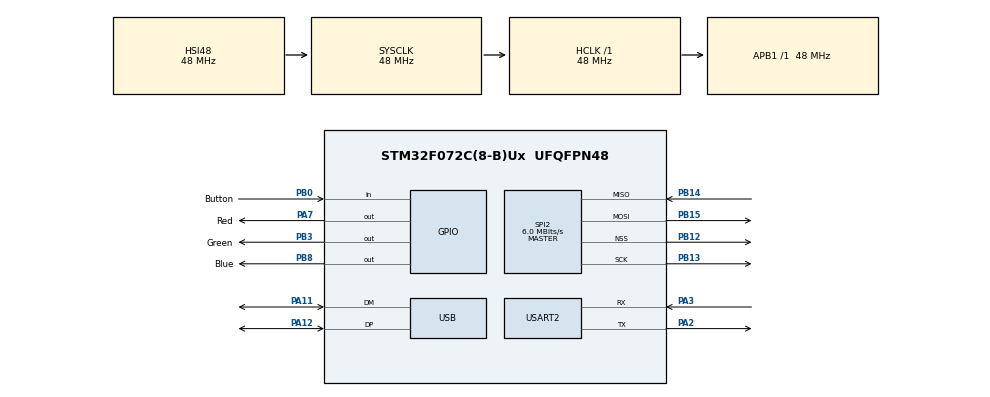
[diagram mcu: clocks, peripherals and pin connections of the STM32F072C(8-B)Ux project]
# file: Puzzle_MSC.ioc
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Mcu.Family=STM32F0
Mcu.Name=STM32F072C(8-B)Ux
Mcu.Package=UFQFPN48
NVIC.USB_IRQn=true\:0\:0\:false\:false\:true\:false
PA11.Mode=Device
PA11.Signal=USB_DM
PA12.Mode=Device
PA12.Signal=USB_DP
PA2.Mode=Asynchronous
PA2.Signal=USART2_TX
PA3.Mode=Asynchronous
PA3.Signal=USART2_RX
PA7.GPIO_Label=Red
PA7.Signal=GPIO_Output
PB0.GPIO_Label=Button
PB0.Signal=GPIO_Input
PB12.Mode=NSS_Signal_Hard_Output
PB12.Signal=SPI2_NSS
PB13.Mode=Full_Duplex_Master
PB13.Signal=SPI2_SCK
PB14.Mode=Full_Duplex_Master
PB14.Signal=SPI2_MISO
PB15.Mode=Full_Duplex_Master
PB15.Signal=SPI2_MOSI
PB3.GPIO_Label=Green
PB3.Signal=GPIO_Output
PB8.GPIO_Label=Blue
PB8.Signal=GPIO_Output
ProjectManager.HeapSize=0x200
ProjectManager.StackSize=0x400
ProjectManager.TargetToolchain=MDK-ARM V5
RCC.AHBFreq_Value=48000000
RCC.APB1Freq_Value=48000000
RCC.APB1TimFreq_Value=48000000
RCC.HCLKFreq_Value=48000000
RCC.SYSCLKFreq_VALUE=48000000
RCC.SYSCLKSource=RCC_SYSCLKSOURCE_HSI48
SPI2.BaudRatePrescaler=SPI_BAUDRATEPRESCALER_8
SPI2.CalculateBaudRate=6.0 MBits/s
SPI2.DataSize=SPI_DATASIZE_8BIT
SPI2.Direction=SPI_DIRECTION_2LINES
SPI2.Mode=SPI_MODE_MASTER
SPI2.VirtualNSS=VM_NSSHARD
SPI2.VirtualType=VM_MASTER
USART2.VirtualMode-Asynchronous=VM_ASYNC
USB_DEVICE.CLASS_NAME_FS=MSC
USB_DEVICE.VirtualMode=Msc
USB_DEVICE.VirtualModeFS=Msc_FS
VP_FATFS_VS_Generic.Mode=User_defined
VP_USB_DEVICE_VS_USB_DEVICE_MSC_FS.Mode=MSC_FS
board=Puzzle_MSC

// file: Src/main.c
/**
  ******************************************************************************
  * @file           : main.c
  * @brief          : Main program body
  ******************************************************************************
  * This notice applies to any and all portions of this file
  * that are not between comment pairs USER CODE BEGIN and
  * USER CODE END. Other portions of this file, whether
  * inserted by the user or by software development tools
  * are owned by their respective copyright owners.
  *
  * Copyright (c) 2018 STMicroelectronics International N.V.
  * All rights reserved.
  *
  * Redistribution and use in source and binary forms, with or without
  * modification, are permitted, provided that the following conditions are met:
  *
  * 1. Redistribution of source code must retain the above copyright notice,
  *    this list of conditions and the following disclaimer.
  * 2. Redistributions in binary form must reproduce the above copyright notice,
  *    this list of conditions and the following disclaimer in the documentation
  *    and/or other materials provided with the distribution.
  * 3. Neither the name of STMicroelectronics nor the names of other
  *    contributors to this software may be used to endorse or promote products
  *    derived from this software without specific written permission.
  * 4. This software, including modifications and/or derivative works of this
  *    software, must execute solely and exclusively on microcontroller or
  *    microprocessor devices manufactured by or for STMicroelectronics.
  * 5. Redistribution and use of this software other than as permitted under
  *    this license is void and will automatically terminate your rights under
  *    this license.
  *
  * THIS SOFTWARE IS PROVIDED BY STMICROELECTRONICS AND CONTRIBUTORS "AS IS"
  * AND ANY EXPRESS, IMPLIED OR STATUTORY WARRANTIES, INCLUDING, BUT NOT
  * LIMITED TO, THE IMPLIED WARRANTIES OF MERCHANTABILITY, FITNESS FOR A
  * PARTICULAR PURPOSE AND NON-INFRINGEMENT OF THIRD PARTY INTELLECTUAL PROPERTY
  * RIGHTS ARE DISCLAIMED TO THE FULLEST EXTENT PERMITTED BY LAW. IN NO EVENT
  * SHALL STMICROELECTRONICS OR CONTRIBUTORS BE LIABLE FOR ANY DIRECT, INDIRECT,
  * INCIDENTAL, SPECIAL, EXEMPLARY, OR CONSEQUENTIAL DAMAGES (INCLUDING, BUT NOT
  * LIMITED TO, PROCUREMENT OF SUBSTITUTE GOODS OR SERVICES; LOSS OF USE, DATA,
  * OR PROFITS; OR BUSINESS INTERRUPTION) HOWEVER CAUSED AND ON ANY THEORY OF
  * LIABILITY, WHETHER IN CONTRACT, STRICT LIABILITY, OR TORT (INCLUDING
  * NEGLIGENCE OR OTHERWISE) ARISING IN ANY WAY OUT OF THE USE OF THIS SOFTWARE,
  * EVEN IF ADVISED OF THE POSSIBILITY OF SUCH DAMAGE.
  *
  ******************************************************************************
  */
#include "main.h"
#include "stm32f0xx_hal.h"
#include "fatfs.h"
#include "usb_device.h"
#include "spi_nor_flash.h"

extern SPI_HandleTypeDef hspi;

UART_HandleTypeDef huart2;

/* USER CODE BEGIN PV */
/* Private variables ---------------------------------------------------------*/

/* USER CODE END PV */

void SystemClock_Config(void);
static void MX_GPIO_Init(void);
static void MX_SPI2_Init(void);
static void MX_USART2_UART_Init(void);

/* USER CODE BEGIN PFP */
/* Private function prototypes -----------------------------------------------*/

/* USER CODE END PFP */

/* USER CODE BEGIN 0 */
#define NUM_COLORS 6

#define MIN_BTN_PRESS 100
#define LONG_BTN_PRESS 500
#define EXTND_BTN_PRESS 1000

volatile enum {
	NO_BUTTON,
	SHORT_BUTTON,
	LONG_BUTTON,
	EXTND_BUTTON
}button_state;

uint8_t led_pwm[] = {0,0,0};
uint16_t led_accum[] = {0,0,0};
uint32_t key_timer;
uint8_t mode;

uint8_t colors[NUM_COLORS][3]={
	{ 255, 0,   0   },//red
	{ 0,   255, 0   },//green
	{ 0,   0,   255 },//blue
	{ 255, 255, 0   },//yellow
	{ 255, 0,   255 },//magenta
	{ 0,   255, 255 },//cyan

};

uint8_t get_button(void){

	return GPIOB->IDR & (1<<0);
}

void led_on(uint8_t led){

	if(led == 0){ GPIOA->ODR &= ~(1 << 7); }
	if(led == 1){ GPIOB->ODR &= ~(1 << 3); }
	if(led == 2){ GPIOB->ODR &= ~(1 << 8); }
}

void led_off(uint8_t led){

	if(led == 0){ GPIOA->ODR |= (1 << 7); }
	if(led == 1){ GPIOB->ODR |= (1 << 3); }
	if(led == 2){ GPIOB->ODR |= (1 << 8); }

}

void cycle_color(void){

		mode++;

		//lightsOut = LIGHTS_OUT_AFTER_N_MS;

		if(mode > NUM_COLORS-1 ){

			mode = 0;

		}
		led_pwm[0] = colors[mode][0];
		led_pwm[1] = colors[mode][1];
		led_pwm[2] = colors[mode][2];
}

/* USER CODE END 0 */

int main(void)
{

  /* MCU Configuration----------------------------------------------------------*/

  /* Reset of all peripherals, Initializes the Flash interface and the Systick. */
  HAL_Init();

  /* Configure the system clock */
  SystemClock_Config();

  /* Initialize all configured peripherals */
  MX_GPIO_Init();
  MX_SPI2_Init();
  MX_USART2_UART_Init();
  MX_FATFS_Init();
  MX_USB_DEVICE_Init();
  /* USER CODE BEGIN 2 */

	printf("Dia duit!\n");

	init_spi_flash();

   // try some flash accesses
  // __ALIGN_BEGIN uint8_t txSpiBuf[16];
   __ALIGN_BEGIN uint8_t rxSpiBuf[256];
//   txSpiBuf[0] = CMD_READ_STATUS_REGISTER;
   //HAL_SPI_TransmitReceive( &hspi, txSpiBuf, rxSpiBuf, 2, 10);SPI2->CR1 &= ~SPI_CR1_SPE;
	 read_status_register(rxSpiBuf);

   printf("Status Reg:%02x\n", rxSpiBuf[1]);

//   txSpiBuf[0] = CMD_READ_ID;
//   HAL_SPI_TransmitReceive( &hspi, txSpiBuf, rxSpiBuf, 16, 10);SPI2->CR1 &= ~SPI_CR1_SPE;
//

	 read_id(rxSpiBuf);

   printf("ID        :");
   for(int i = 0; i < 16; i++){

      printf("%02x",rxSpiBuf[i]);

   }printf("\n");SPI2->CR1 &= ~SPI_CR1_SPE;

		FATFS fs;           /* Filesystem object */
	 char fat_path[4];
    FIL fil;            /* File object */
    FRESULT res;        /* API result code */
    UINT bw;            /* Bytes written */

	 if( FR_OK == f_mount( &fs, fat_path, 0)){

		 if(FR_OK == f_mkfs( fat_path, 0, 0)){

			 printf("mkfs success\n");

		 }else{
			printf("f_mkfs failed\n");
		 }

	 }else{
		 printf("f_mount failed\n");
	 }

	 read_status_register(rxSpiBuf);

   printf("Status Reg:%02x\n", rxSpiBuf[1]);

	 // FA_CREATE_NEW will fail with FR_EXIST if file already exists
	 res = f_open ( &fil, "readme.txt", FA_WRITE | FA_CREATE_NEW);

	 switch(res){

		 case FR_OK:
			 printf("FR_OK \n");break;
		 case FR_DISK_ERR:
			 printf("FR_DISK_ERR \n");break;
		 case FR_INT_ERR:
			 printf("FR_INT_ERR \n");break;
		 case FR_NOT_READY:
			 printf("FR_NOT_READY \n");break;
		 case FR_NO_FILE:
			 printf("FR_NO_FILE \n");break;
		 case FR_NO_PATH:
			 printf("FR_NO_PATH \n");break;
		 case FR_INVALID_NAME:
			 printf("FR_INVALID_NAME \n");break;
		 case FR_DENIED:
			 printf("FR_DENIED \n");break;
		 case FR_EXIST:
			 printf("FR_EXIST \n");break;
		 case FR_INVALID_OBJECT:
			 printf("FR_INVALID_OBJECT \n");break;
		 case FR_WRITE_PROTECTED:
			 printf("ddd \n");break;
		 case FR_INVALID_DRIVE:
			 printf("FR_WRITE_PROTECTED \n");break;
		 case FR_NOT_ENABLED:
			 printf("FR_NOT_ENABLED \n");break;
		 case FR_NO_FILESYSTEM:
			 printf("FR_NO_FILESYSTEM \n");break;
		 case FR_TIMEOUT:
			 printf("FR_TIMEOUT \n");break;
		 case FR_LOCKED:
			 printf("FR_LOCKED \n");break;
		 case FR_NOT_ENOUGH_CORE:
			 printf("FR_NOT_ENOUGH_CORE \n");break;
		 case FR_TOO_MANY_OPEN_FILES:
			 printf("FR_TOO_MANY_OPEN_FILES \n");break;

		 default:
			 printf("default \n");break;
	 }

	for(int j = 0; j < 4; j++){

		 read_random(j * 256, 256, rxSpiBuf);
		 printf("Sector %d :\n",j);
		 for(int i = 0; i < 256; i++){

				printf("%02x ",rxSpiBuf[i]);

		 }printf("\n");
 }

//    BYTE work[4096]; /* Work area (larger is better for processing time) */

//    /* Create FAT volume */
//    res = f_mkfs("",  0, 4096);
//    if (res){

//			/* Register work area */
//			f_mount(&fs, "", 0);

//			/* Create a file as new */
//			res = f_open(&fil, "hello.txt", FA_CREATE_NEW | FA_WRITE);
//			//if (res) ...

//			/* Write a message */
//			f_write(&fil, "Hello, World!\r\n", 15, &bw);
//			//if (bw != 15) ...

//			/* Close the file */
//			f_close(&fil);

//			/* Unregister work area */
//			f_mount(0, "", 0);
//		}
//

  /* USER CODE END 2 */

  /* Infinite loop */
  /* USER CODE BEGIN WHILE */
  while (1)
  {
		if(button_state){
			switch(button_state){
				case SHORT_BUTTON:
				case LONG_BUTTON:
				case EXTND_BUTTON:

				cycle_color();
				printf("butt\n");
				break;

				case NO_BUTTON:
					default:
						__nop();

			}

			button_state = NO_BUTTON;
		}

  /* USER CODE END WHILE */

  }

}

void SystemClock_Config(void)
{

  RCC_OscInitTypeDef RCC_OscInitStruct;
  RCC_ClkInitTypeDef RCC_ClkInitStruct;
  RCC_PeriphCLKInitTypeDef PeriphClkInit;

    /**Initializes the CPU, AHB and APB busses clocks
    */
  RCC_OscInitStruct.OscillatorType = RCC_OSCILLATORTYPE_HSI48;
  RCC_OscInitStruct.HSI48State = RCC_HSI48_ON;
  RCC_OscInitStruct.PLL.PLLState = RCC_PLL_NONE;
  if (HAL_RCC_OscConfig(&RCC_OscInitStruct) != HAL_OK)
  {
    _Error_Handler(__FILE__, __LINE__);
  }

    /**Initializes the CPU, AHB and APB busses clocks
    */
  RCC_ClkInitStruct.ClockType = RCC_CLOCKTYPE_HCLK|RCC_CLOCKTYPE_SYSCLK
                              |RCC_CLOCKTYPE_PCLK1;
  RCC_ClkInitStruct.SYSCLKSource = RCC_SYSCLKSOURCE_HSI48;
  RCC_ClkInitStruct.AHBCLKDivider = RCC_SYSCLK_DIV1;
  RCC_ClkInitStruct.APB1CLKDivider = RCC_HCLK_DIV1;

  if (HAL_RCC_ClockConfig(&RCC_ClkInitStruct, FLASH_LATENCY_1) != HAL_OK)
  {
    _Error_Handler(__FILE__, __LINE__);
  }

  PeriphClkInit.PeriphClockSelection = RCC_PERIPHCLK_USB|RCC_PERIPHCLK_USART2;
  PeriphClkInit.Usart2ClockSelection = RCC_USART2CLKSOURCE_PCLK1;
  PeriphClkInit.UsbClockSelection = RCC_USBCLKSOURCE_HSI48;

  if (HAL_RCCEx_PeriphCLKConfig(&PeriphClkInit) != HAL_OK)
  {
    _Error_Handler(__FILE__, __LINE__);
  }

    /**Configure the Systick interrupt time
    */
  HAL_SYSTICK_Config(HAL_RCC_GetHCLKFreq()/1000);

    /**Configure the Systick
    */
  HAL_SYSTICK_CLKSourceConfig(SYSTICK_CLKSOURCE_HCLK);

  /* SysTick_IRQn interrupt configuration */
  HAL_NVIC_SetPriority(SysTick_IRQn, 0, 0);
}

/* SPI2 init function */
static void MX_SPI2_Init(void)
{

  /* SPI2 parameter configuration*/
  hspi.Instance = SPI2;
  hspi.Init.Mode = SPI_MODE_MASTER;
  hspi.Init.Direction = SPI_DIRECTION_2LINES;
  hspi.Init.DataSize = SPI_DATASIZE_8BIT;
  hspi.Init.CLKPolarity = SPI_POLARITY_LOW;
  hspi.Init.CLKPhase = SPI_PHASE_1EDGE;
  hspi.Init.NSS = SPI_NSS_HARD_OUTPUT;
  hspi.Init.BaudRatePrescaler = SPI_BAUDRATEPRESCALER_8;
  hspi.Init.FirstBit = SPI_FIRSTBIT_MSB;
  hspi.Init.TIMode = SPI_TIMODE_DISABLE;
  hspi.Init.CRCCalculation = SPI_CRCCALCULATION_DISABLE;
  hspi.Init.CRCPolynomial = 7;
  hspi.Init.CRCLength = SPI_CRC_LENGTH_DATASIZE;
  hspi.Init.NSSPMode = SPI_NSS_PULSE_ENABLE;
  if (HAL_SPI_Init(&hspi) != HAL_OK)
  {
    _Error_Handler(__FILE__, __LINE__);
  }

}

/* USART2 init function */
static void MX_USART2_UART_Init(void)
{

  huart2.Instance = USART2;
  huart2.Init.BaudRate = 921600;
  huart2.Init.WordLength = UART_WORDLENGTH_8B;
  huart2.Init.StopBits = UART_STOPBITS_1;
  huart2.Init.Parity = UART_PARITY_NONE;
  huart2.Init.Mode = UART_MODE_TX_RX;
  huart2.Init.HwFlowCtl = UART_HWCONTROL_NONE;
  huart2.Init.OverSampling = UART_OVERSAMPLING_16;
  huart2.Init.OneBitSampling = UART_ONE_BIT_SAMPLE_DISABLE;
  huart2.AdvancedInit.AdvFeatureInit = UART_ADVFEATURE_NO_INIT;
  if (HAL_UART_Init(&huart2) != HAL_OK)
  {
    _Error_Handler(__FILE__, __LINE__);
  }
}

/** Configure pins as
        * Analog
        * Input
        * Output
        * EVENT_OUT
        * EXTI
*/
static void MX_GPIO_Init(void)
{

  GPIO_InitTypeDef GPIO_InitStruct;

  /* GPIO Ports Clock Enable */
  __HAL_RCC_GPIOA_CLK_ENABLE();
  __HAL_RCC_GPIOB_CLK_ENABLE();

  /*Configure GPIO pin Output Level */
  HAL_GPIO_WritePin(Red_GPIO_Port, Red_Pin, GPIO_PIN_RESET);

  /*Configure GPIO pin Output Level */
  HAL_GPIO_WritePin(GPIOB, Green_Pin|Blue_Pin, GPIO_PIN_RESET);

  /*Configure GPIO pin : Red_Pin */
  GPIO_InitStruct.Pin = Red_Pin;
  GPIO_InitStruct.Mode = GPIO_MODE_OUTPUT_PP;
  GPIO_InitStruct.Pull = GPIO_NOPULL;
  GPIO_InitStruct.Speed = GPIO_SPEED_FREQ_LOW;
  HAL_GPIO_Init(Red_GPIO_Port, &GPIO_InitStruct);

  /*Configure GPIO pin : Button_Pin */
  GPIO_InitStruct.Pin = Button_Pin;
  GPIO_InitStruct.Mode = GPIO_MODE_INPUT;
  GPIO_InitStruct.Pull = GPIO_NOPULL;
  HAL_GPIO_Init(Button_GPIO_Port, &GPIO_InitStruct);

  /*Configure GPIO pins : Green_Pin Blue_Pin */
  GPIO_InitStruct.Pin = Green_Pin|Blue_Pin;
  GPIO_InitStruct.Mode = GPIO_MODE_OUTPUT_PP;
  GPIO_InitStruct.Pull = GPIO_NOPULL;
  GPIO_InitStruct.Speed = GPIO_SPEED_FREQ_LOW;
  HAL_GPIO_Init(GPIOB, &GPIO_InitStruct);

}

/* USER CODE BEGIN 4 */
void HAL_SYSTICK_Callback(void)
{
	static struct {
		int prev : 1;
		int curr : 1;
	}btn_state;

	btn_state.curr = get_button();

	// check for rising edge on button: end of press or debounce
	if(btn_state.curr != btn_state.prev){

		if(btn_state.curr){

			if(key_timer > EXTND_BTN_PRESS){

				button_state = EXTND_BUTTON;

			}else if( key_timer > LONG_BTN_PRESS){

				button_state = LONG_BUTTON;

			}else if(key_timer > MIN_BTN_PRESS){

				button_state = SHORT_BUTTON;
			}
		}
		btn_state.prev = btn_state.curr;
	}

	if(!btn_state.curr){
		key_timer++;
	}else{
		key_timer = 0;
	}

	for(int i = 0; i< 3; i++){

		led_accum[i] += led_pwm[i];
		if( led_accum[i] > 256 ){
			led_accum[i] -= 256;
			led_on(i);
		}else{
			led_off(i);
		}
	}

}
/* USER CODE END 4 */

void _Error_Handler(char *file, int line)
{
  while(1)
  {
  }
}

/************************ (C) COPYRIGHT STMicroelectronics *****END OF FILE****/
